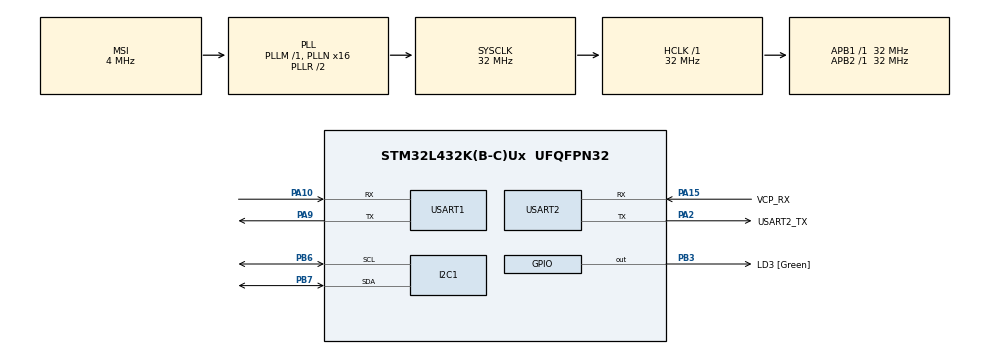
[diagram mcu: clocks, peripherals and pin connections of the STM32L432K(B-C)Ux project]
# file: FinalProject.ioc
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FREERTOS.Tasks01=ChipTemp,24,512,StartChipTemp,Default,NULL,Static,ChipTempBuffer,ChipTempControlBlock;wifi_click_tx,8,128,wifi_click_tx_func,Default,NULL,Static,wifi_click_txBuffer,wifi_click_txControlBlock
FREERTOS.configUSE_NEWLIB_REENTRANT=1
I2C1.Timing=0x00707CBB
Mcu.Family=STM32L4
Mcu.Name=STM32L432K(B-C)Ux
Mcu.Package=UFQFPN32
NVIC.PriorityGroup=NVIC_PRIORITYGROUP_4
NVIC.TIM6_DAC_IRQn=true\:15\:0\:false\:false\:true\:false\:false\:true
NVIC.TimeBase=TIM6_DAC_IRQn
NVIC.TimeBaseIP=TIM6
NVIC.USART1_IRQn=true\:5\:0\:false\:false\:true\:true\:true\:true
NVIC.USART2_IRQn=true\:5\:0\:false\:false\:true\:true\:true\:true
PA0.GPIO_Label=MCO [High speed clock in]
PA0.Mode=HSE-External-Clock-Source-for-LittleOrca
PA0.Signal=RCC_CK_IN
PA10.Mode=Asynchronous
PA10.Signal=USART1_RX
PA13\ (JTMS-SWDIO).GPIO_Label=SWDIO
PA13\ (JTMS-SWDIO).Mode=Serial_Wire
PA13\ (JTMS-SWDIO).Signal=SYS_JTMS-SWDIO
PA14\ (JTCK-SWCLK).GPIO_Label=SWCLK
PA14\ (JTCK-SWCLK).Mode=Serial_Wire
PA14\ (JTCK-SWCLK).Signal=SYS_JTCK-SWCLK
PA15\ (JTDI).GPIO_Label=VCP_RX
PA15\ (JTDI).Mode=Asynchronous
PA15\ (JTDI).Signal=USART2_RX
PA2.GPIO_Label=USART2_TX
PA2.Mode=Asynchronous
PA2.Signal=USART2_TX
PA9.Mode=Asynchronous
PA9.Signal=USART1_TX
PB3\ (JTDO-TRACESWO).GPIO_Label=LD3 [Green]
PB3\ (JTDO-TRACESWO).Signal=GPIO_Output
PB6.Mode=I2C
PB6.Signal=I2C1_SCL
PB7.Mode=I2C
PB7.Signal=I2C1_SDA
PC14-OSC32_IN\ (PC14).Mode=LSE-External-Oscillator
PC14-OSC32_IN\ (PC14).Signal=RCC_OSC32_IN
PC15-OSC32_OUT\ (PC15).Mode=LSE-External-Oscillator
PC15-OSC32_OUT\ (PC15).Signal=RCC_OSC32_OUT
ProjectManager.HeapSize=0x200
ProjectManager.StackSize=0x400
ProjectManager.TargetToolchain=STM32CubeIDE
RCC.AHBFreq_Value=32000000
RCC.APB1Freq_Value=32000000
RCC.APB1TimFreq_Value=32000000
RCC.APB2Freq_Value=32000000
RCC.APB2TimFreq_Value=32000000
RCC.CortexFreq_Value=32000000
RCC.HCLKFreq_Value=32000000
RCC.HSE_VALUE=8000000
RCC.HSI16_VALUE=16000000
RCC.HSI48_VALUE=48000000
RCC.HSI_VALUE=16000000
RCC.MSI_VALUE=4000000
RCC.PLLMUL=RCC_PLLMUL_4
RCC.PLLN=16
RCC.SYSCLKFreq_VALUE=32000000
RCC.SYSCLKSource=RCC_SYSCLKSOURCE_PLLCLK
RCC.VCOOutputFreq_Value=64000000
USART1.VirtualMode-Asynchronous=VM_ASYNC
USART2.VirtualMode-Asynchronous=VM_ASYNC
VP_FREERTOS_VS_CMSIS_V2.Mode=CMSIS_V2
VP_SYS_VS_tim6.Mode=TIM6
board=NUCLEO-L432KC

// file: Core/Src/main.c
/* USER CODE BEGIN Header */
/**
  ******************************************************************************
  * @file           : main.c
  * @brief          : Main program body
  ******************************************************************************
  * @attention
  *
  * Copyright (c) 2022 STMicroelectronics.
  * All rights reserved.
  *
  * This software is licensed under terms that can be found in the LICENSE file
  * in the root directory of this software component.
  * If no LICENSE file comes with this software, it is provided AS-IS.
  *
  ******************************************************************************
  */
/* USER CODE END Header */
#include "main.h"
#include "cmsis_os.h"

/* USER CODE BEGIN Includes */
#include "h4lib.h"
#include <stdbool.h>
#include <stdio.h>
#include <math.h>
#include <string.h>
#include <stdarg.h>
#include "stm32l4xx_hal.h"
#include "WiFi_Click_lib.h"
/* USER CODE END Includes */

typedef StaticTask_t osStaticThreadDef_t;

/* USER CODE BEGIN PD */
#define BUFFERSIZE 11
/* USER CODE END PD */

I2C_HandleTypeDef hi2c1;

UART_HandleTypeDef huart1;
UART_HandleTypeDef huart2;

/* Definitions for ChipTemp */
osThreadId_t ChipTempHandle;
uint32_t ChipTempBuffer[ 512 ];
osStaticThreadDef_t ChipTempControlBlock;
const osThreadAttr_t ChipTemp_attributes = {
  .name = "ChipTemp",
  .cb_mem = &ChipTempControlBlock,
  .cb_size = sizeof(ChipTempControlBlock),
  .stack_mem = &ChipTempBuffer[0],
  .stack_size = sizeof(ChipTempBuffer),
  .priority = (osPriority_t) osPriorityNormal,
};
/* Definitions for wifi_click_tx */
osThreadId_t wifi_click_txHandle;
uint32_t wifi_click_txBuffer[ 128 ];
osStaticThreadDef_t wifi_click_txControlBlock;
const osThreadAttr_t wifi_click_tx_attributes = {
  .name = "wifi_click_tx",
  .cb_mem = &wifi_click_txControlBlock,
  .cb_size = sizeof(wifi_click_txControlBlock),
  .stack_mem = &wifi_click_txBuffer[0],
  .stack_size = sizeof(wifi_click_txBuffer),
  .priority = (osPriority_t) osPriorityLow,
};

void SystemClock_Config(void);
static void MX_GPIO_Init(void);
static void MX_USART2_UART_Init(void);
static void MX_I2C1_Init(void);
static void MX_USART1_UART_Init(void);
void StartChipTemp(void *argument);
void wifi_click_tx_func(void *argument);

/* USER CODE BEGIN 0 */
uint8_t ringBuffer[BUFFERSIZE]; // I receive my input from the Hal_Uart_Receive Function
char *welcome = "\n\radmin@work:~$: ";

// Print given character on UART 2. Translate '\n' to "\r\n" on the fly.
int __io_putchar(int ch) {
	int ret;
	while ((ret = HAL_UART_GetState(&huart2)) != HAL_UART_STATE_READY)
		;
	if (ch == '\n') {
		static uint8_t buf[2] = {'\r', '\n'};
		HAL_UART_Transmit_IT(&huart2, buf, sizeof(buf));
	} else {
		static char buf;
		buf = ch;
		HAL_UART_Transmit_IT(&huart2, (uint8_t *)&buf, 1);
	}
	return ch;
}

// So we do not use the printf on the stdio but bend it to UART */
int _write(int file, char *ptr, int len)
{
	for (int DataIdx = 0; DataIdx < len; DataIdx++) {
		__io_putchar(*ptr++);
	}
	return len;
}
/* USER CODE END 0 */

int main(void)
{
  /* USER CODE BEGIN 1 */
//TODO: CAll void hr4_init(); first!!
  /* USER CODE END 1 */

  /* MCU Configuration--------------------------------------------------------*/

  /* Reset of all peripherals, Initializes the Flash interface and the Systick. */
  HAL_Init();

  /* Configure the system clock */
  SystemClock_Config();

  /* Initialize all configured peripherals */
  MX_GPIO_Init();
  MX_USART2_UART_Init();
  MX_I2C1_Init();
  MX_USART1_UART_Init();
  /* USER CODE BEGIN 2 */

	//connect to the wifi
	wifi_click_init();

  /* USER CODE END 2 */

  /* Init scheduler */
  osKernelInitialize();

  /* Create the thread(s) */
  /* creation of ChipTemp */
  ChipTempHandle = osThreadNew(StartChipTemp, NULL, &ChipTemp_attributes);

  /* creation of wifi_click_tx */
  wifi_click_txHandle = osThreadNew(wifi_click_tx_func, NULL, &wifi_click_tx_attributes);

  /* Start scheduler */
  osKernelStart();

  /* We should never get here as control is now taken by the scheduler */
  /* Infinite loop */
  while (1)
  {

  }
}

void SystemClock_Config(void)
{
  RCC_OscInitTypeDef RCC_OscInitStruct = {0};
  RCC_ClkInitTypeDef RCC_ClkInitStruct = {0};

  /** Configure the main internal regulator output voltage
  */
  if (HAL_PWREx_ControlVoltageScaling(PWR_REGULATOR_VOLTAGE_SCALE1) != HAL_OK)
  {
    Error_Handler();
  }
  /** Configure LSE Drive Capability
  */
  HAL_PWR_EnableBkUpAccess();
  __HAL_RCC_LSEDRIVE_CONFIG(RCC_LSEDRIVE_LOW);
  /** Initializes the RCC Oscillators according to the specified parameters
  * in the RCC_OscInitTypeDef structure.
  */
  RCC_OscInitStruct.OscillatorType = RCC_OSCILLATORTYPE_LSE|RCC_OSCILLATORTYPE_MSI;
  RCC_OscInitStruct.LSEState = RCC_LSE_ON;
  RCC_OscInitStruct.MSIState = RCC_MSI_ON;
  RCC_OscInitStruct.MSICalibrationValue = 0;
  RCC_OscInitStruct.MSIClockRange = RCC_MSIRANGE_6;
  RCC_OscInitStruct.PLL.PLLState = RCC_PLL_ON;
  RCC_OscInitStruct.PLL.PLLSource = RCC_PLLSOURCE_MSI;
  RCC_OscInitStruct.PLL.PLLM = 1;
  RCC_OscInitStruct.PLL.PLLN = 16;
  RCC_OscInitStruct.PLL.PLLP = RCC_PLLP_DIV7;
  RCC_OscInitStruct.PLL.PLLQ = RCC_PLLQ_DIV2;
  RCC_OscInitStruct.PLL.PLLR = RCC_PLLR_DIV2;
  if (HAL_RCC_OscConfig(&RCC_OscInitStruct) != HAL_OK)
  {
    Error_Handler();
  }
  /** Initializes the CPU, AHB and APB buses clocks
  */
  RCC_ClkInitStruct.ClockType = RCC_CLOCKTYPE_HCLK|RCC_CLOCKTYPE_SYSCLK
                              |RCC_CLOCKTYPE_PCLK1|RCC_CLOCKTYPE_PCLK2;
  RCC_ClkInitStruct.SYSCLKSource = RCC_SYSCLKSOURCE_PLLCLK;
  RCC_ClkInitStruct.AHBCLKDivider = RCC_SYSCLK_DIV1;
  RCC_ClkInitStruct.APB1CLKDivider = RCC_HCLK_DIV1;
  RCC_ClkInitStruct.APB2CLKDivider = RCC_HCLK_DIV1;

  if (HAL_RCC_ClockConfig(&RCC_ClkInitStruct, FLASH_LATENCY_1) != HAL_OK)
  {
    Error_Handler();
  }
  /** Enable MSI Auto calibration
  */
  HAL_RCCEx_EnableMSIPLLMode();
}

static void MX_I2C1_Init(void)
{

  hi2c1.Instance = I2C1;
  hi2c1.Init.Timing = 0x00707CBB;
  hi2c1.Init.OwnAddress1 = 0;
  hi2c1.Init.AddressingMode = I2C_ADDRESSINGMODE_7BIT;
  hi2c1.Init.DualAddressMode = I2C_DUALADDRESS_DISABLE;
  hi2c1.Init.OwnAddress2 = 0;
  hi2c1.Init.OwnAddress2Masks = I2C_OA2_NOMASK;
  hi2c1.Init.GeneralCallMode = I2C_GENERALCALL_DISABLE;
  hi2c1.Init.NoStretchMode = I2C_NOSTRETCH_DISABLE;
  if (HAL_I2C_Init(&hi2c1) != HAL_OK)
  {
    Error_Handler();
  }
  /** Configure Analogue filter
  */
  if (HAL_I2CEx_ConfigAnalogFilter(&hi2c1, I2C_ANALOGFILTER_ENABLE) != HAL_OK)
  {
    Error_Handler();
  }
  /** Configure Digital filter
  */
  if (HAL_I2CEx_ConfigDigitalFilter(&hi2c1, 0) != HAL_OK)
  {
    Error_Handler();
  }

}

static void MX_USART1_UART_Init(void)
{

  huart1.Instance = USART1;
  huart1.Init.BaudRate = 115200;
  huart1.Init.WordLength = UART_WORDLENGTH_8B;
  huart1.Init.StopBits = UART_STOPBITS_1;
  huart1.Init.Parity = UART_PARITY_NONE;
  huart1.Init.Mode = UART_MODE_TX_RX;
  huart1.Init.HwFlowCtl = UART_HWCONTROL_NONE;
  huart1.Init.OverSampling = UART_OVERSAMPLING_16;
  huart1.Init.OneBitSampling = UART_ONE_BIT_SAMPLE_DISABLE;
  huart1.AdvancedInit.AdvFeatureInit = UART_ADVFEATURE_NO_INIT;
  if (HAL_UART_Init(&huart1) != HAL_OK)
  {
    Error_Handler();
  }

}

static void MX_USART2_UART_Init(void)
{

  huart2.Instance = USART2;
  huart2.Init.BaudRate = 115200;
  huart2.Init.WordLength = UART_WORDLENGTH_8B;
  huart2.Init.StopBits = UART_STOPBITS_1;
  huart2.Init.Parity = UART_PARITY_NONE;
  huart2.Init.Mode = UART_MODE_TX_RX;
  huart2.Init.HwFlowCtl = UART_HWCONTROL_NONE;
  huart2.Init.OverSampling = UART_OVERSAMPLING_16;
  huart2.Init.OneBitSampling = UART_ONE_BIT_SAMPLE_DISABLE;
  huart2.AdvancedInit.AdvFeatureInit = UART_ADVFEATURE_NO_INIT;
  if (HAL_UART_Init(&huart2) != HAL_OK)
  {
    Error_Handler();
  }

}

static void MX_GPIO_Init(void)
{
  GPIO_InitTypeDef GPIO_InitStruct = {0};

  /* GPIO Ports Clock Enable */
  __HAL_RCC_GPIOC_CLK_ENABLE();
  __HAL_RCC_GPIOA_CLK_ENABLE();
  __HAL_RCC_GPIOB_CLK_ENABLE();

  /*Configure GPIO pin Output Level */
  HAL_GPIO_WritePin(LD3_GPIO_Port, LD3_Pin, GPIO_PIN_RESET);

  /*Configure GPIO pin : LD3_Pin */
  GPIO_InitStruct.Pin = LD3_Pin;
  GPIO_InitStruct.Mode = GPIO_MODE_OUTPUT_PP;
  GPIO_InitStruct.Pull = GPIO_NOPULL;
  GPIO_InitStruct.Speed = GPIO_SPEED_FREQ_LOW;
  HAL_GPIO_Init(LD3_GPIO_Port, &GPIO_InitStruct);

}

void StartChipTemp(void *argument)
{
  /* USER CODE BEGIN 5 */
	  /* USER CODE BEGIN WHILE */

  /* Infinite loop */
  for(;;)
  {

	  printf("Task 1 \n");

	  // I chose timeout duration '5000' to have enough time to type a command for update interval.
	 	if (HAL_UART_Receive(&huart2, ringBuffer, BUFFERSIZE, 5000) == HAL_ERROR)
	 	{
	 		Error_Handler();
	 	}else {

	 // Function to send the chip temperature
     // Expected command is '#t,tempa\n'
	 		checkInput(hi2c1, huart2, ringBuffer, 10);

	 // Clean the ringbuffer[BUFFERSIZE]
	 		for(int i = 0; i < BUFFERSIZE; i++) {
	 			ringBuffer[i] = 0;
	 		}
	 	}

    osDelay(1);
  }
  /* USER CODE END 5 */
}

void wifi_click_tx_func(void *argument)
{
  /* USER CODE BEGIN wifi_click_tx_func */
  /* Infinite loop */
  for(;;)
  {
		wifi_click_send_test();
		osDelay(2000);
  }
  /* USER CODE END wifi_click_tx_func */
}

void HAL_TIM_PeriodElapsedCallback(TIM_HandleTypeDef *htim)
{
  if (htim->Instance == TIM6) {
    HAL_IncTick();
  }
}

void Error_Handler(void)
{
  __disable_irq();
  while (1)
  {
  }
}
